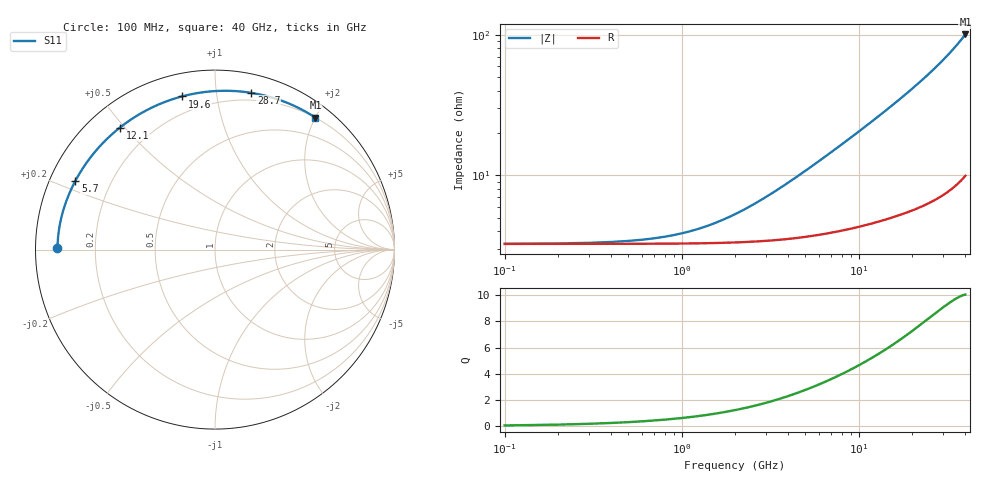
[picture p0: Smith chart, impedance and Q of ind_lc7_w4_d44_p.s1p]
#  Hz  S  RI  R  50
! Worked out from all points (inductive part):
!   400 points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, 100 MHz to 40 GHz, reference 50 ohm
!   read as one part to ground: L = 320 pH near 5.6 GHz
!   highest Q = 10.1 at 40 GHz (marker M1), where L = 398 pH
!   S11 on the Smith chart (normalised r, x): 100 MHz: 0.07, +0.00; 5.7 GHz: 0.08, +0.23; 12.1 GHz: 0.09, +0.49; 19.6 GHz: 0.11, +0.80; 28.7 GHz: 0.14, +1.25; 40 GHz: 0.20, +2.00
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1e8  -0.8775 0.00729
1.3e9  -0.8716 0.0942
2.5e9  -0.8561 0.1787
3.8e9  -0.83 0.2657
5.1e9  -0.7961 0.347
5.7e9  -0.7782 0.3825
6.8e9  -0.7423 0.4442
7.9e9  -0.7029 0.5015
9e9  -0.6605 0.5544
1.01e10  -0.6157 0.6029
1.11e10  -0.5732 0.6433
1.21e10  -0.5294 0.6802
1.36e10  -0.4618 0.729
1.51e10  -0.3927 0.7703
1.62e10  -0.3416 0.7961
1.73e10  -0.2904 0.8183
1.84e10  -0.2393 0.8369
1.96e10  -0.184 0.8535
2.01e10  -0.1611 0.8593
2.25e10  -0.0534 0.8785
2.51e10  0.0583 0.885
2.69e10  0.1319 0.8819
2.87e10  0.2021 0.8734
3.01e10  0.2543 0.8635
3.26e10  0.3418 0.8397
3.51e10  0.4222 0.8094
3.75e10  0.4928 0.7752
4e10  0.5595 0.7353
